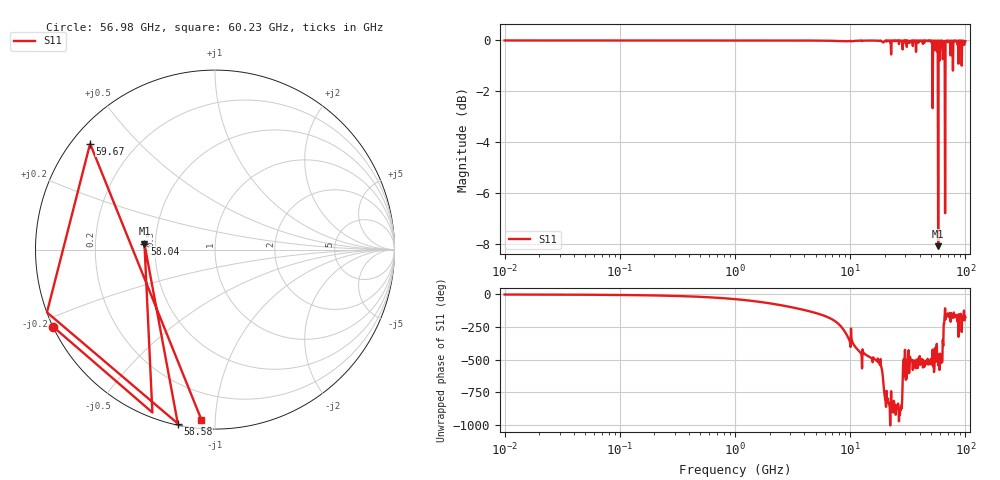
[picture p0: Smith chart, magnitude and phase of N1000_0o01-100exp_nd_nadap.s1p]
! Sonnet Data File
! From: em Version : 18.56
! From Project: N1000_0o01-100exp_nd_nadap
! Data is De-embedded
! Data File Written: 03/04/2023 10:16:57
!< HDATE 02/25/2023 12:39:39
!< MDATE 02/25/2023 12:39:39
# GHZ S MA R 50.00000
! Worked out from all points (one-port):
!   1000 points, 10 MHz to 100 GHz, reference 50 ohm
!   lowest |S11| = -8.1 dB at 58.04 GHz (marker M1), VSWR 2.30, Z = 21.7 + j1.68 ohm
!   |S11| at or under -10 dB: nowhere
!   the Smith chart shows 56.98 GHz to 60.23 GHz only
!   S11 on the Smith chart (normalised r, x): 56.98 GHz: 0.00, -0.23; 58.04 GHz: 0.43, +0.03; 58.58 GHz: 0.01, -0.81; 59.67 GHz: 0.05, +0.37; 60.23 GHz: 0.05, -0.92
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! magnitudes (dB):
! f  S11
! 10 MHz  0.0
! 31.66 MHz  0.0
! 100.2 MHz  0.0
! 317.3 MHz  0.0
! 1.005 GHz  0.0
! 3.181 GHz  0.0
! 10.07 GHz  0.0
! 31.88 GHz  0.0
! 49.17 GHz  0.0
! 49.62 GHz  0.0
! 53.92 GHz  -0.1
! 54.92 GHz  0.0
! 55.43 GHz  -0.1
! 56.98 GHz  0.0
! 58.04 GHz  -8.1
! 58.58 GHz  -0.1
! 59.67 GHz  -0.8
! 60.23 GHz  -0.4
! 60.78 GHz  0.0
! 61.35 GHz  0.0
! 63.07 GHz  0.0
! 63.65 GHz  -0.7
! 66.65 GHz  -6.8
! 69.8 GHz  0.0
! 70.44 GHz  -0.1
! 77.25 GHz  -0.1
! 82.4 GHz  0.0
! 100 GHz  0.0
